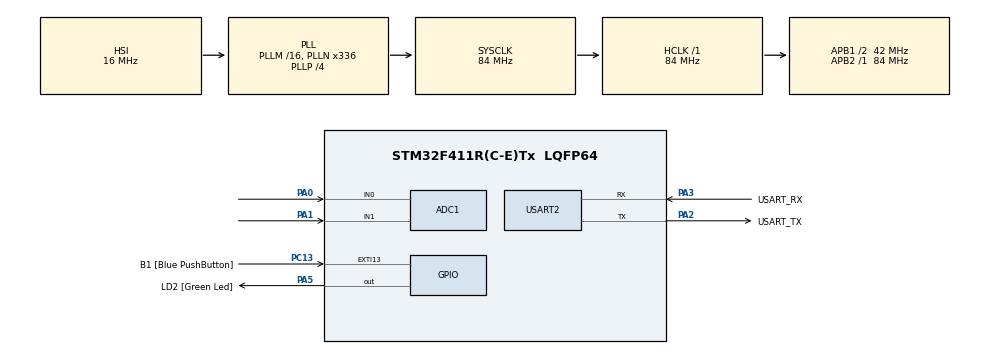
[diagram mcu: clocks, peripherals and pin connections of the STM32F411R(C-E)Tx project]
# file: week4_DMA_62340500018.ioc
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ADC1.Channel-0\#ChannelRegularConversion=ADC_CHANNEL_0
ADC1.Channel-1\#ChannelRegularConversion=ADC_CHANNEL_1
ADC1.Channel-2\#ChannelRegularConversion=ADC_CHANNEL_TEMPSENSOR
ADC1.Channel-3\#ChannelRegularConversion=ADC_CHANNEL_VREFINT
ADC1.ContinuousConvMode=ENABLE
ADC1.DMAContinuousRequests=ENABLE
ADC1.NbrOfConversion=4
ADC1.NbrOfConversionFlag=1
ADC1.Rank-0\#ChannelRegularConversion=1
ADC1.Rank-1\#ChannelRegularConversion=2
ADC1.Rank-2\#ChannelRegularConversion=3
ADC1.Rank-3\#ChannelRegularConversion=4
ADC1.SamplingTime-0\#ChannelRegularConversion=ADC_SAMPLETIME_84CYCLES
ADC1.SamplingTime-1\#ChannelRegularConversion=ADC_SAMPLETIME_84CYCLES
ADC1.SamplingTime-2\#ChannelRegularConversion=ADC_SAMPLETIME_84CYCLES
ADC1.SamplingTime-3\#ChannelRegularConversion=ADC_SAMPLETIME_84CYCLES
ADC1.ScanConvMode=ENABLE
ADC1.master=1
Dma.ADC1.0.Direction=DMA_PERIPH_TO_MEMORY
Dma.ADC1.0.FIFOMode=DMA_FIFOMODE_DISABLE
Dma.ADC1.0.Instance=DMA2_Stream0
Dma.ADC1.0.MemDataAlignment=DMA_MDATAALIGN_WORD
Dma.ADC1.0.MemInc=DMA_MINC_ENABLE
Dma.ADC1.0.Mode=DMA_CIRCULAR
Dma.ADC1.0.PeriphDataAlignment=DMA_PDATAALIGN_WORD
Dma.ADC1.0.PeriphInc=DMA_PINC_DISABLE
Dma.ADC1.0.Priority=DMA_PRIORITY_LOW
Dma.Request0=ADC1
Mcu.Family=STM32F4
Mcu.Name=STM32F411R(C-E)Tx
Mcu.Package=LQFP64
NVIC.DMA2_Stream0_IRQn=true\:0\:0\:false\:false\:true\:false\:true
NVIC.EXTI15_10_IRQn=true\:0\:0\:false\:false\:true\:true\:true
NVIC.PriorityGroup=NVIC_PRIORITYGROUP_0
PA0-WKUP.Signal=ADCx_IN0
PA1.Signal=ADCx_IN1
PA13.GPIO_Label=TMS
PA13.Mode=Serial_Wire
PA13.Signal=SYS_JTMS-SWDIO
PA14.GPIO_Label=TCK
PA14.Mode=Serial_Wire
PA14.Signal=SYS_JTCK-SWCLK
PA2.GPIO_Label=USART_TX
PA2.Mode=Asynchronous
PA2.Signal=USART2_TX
PA3.GPIO_Label=USART_RX
PA3.Mode=Asynchronous
PA3.Signal=USART2_RX
PA5.GPIO_Label=LD2 [Green Led]
PA5.Signal=GPIO_Output
PB3.GPIO_Label=SWO
PB3.Signal=SYS_JTDO-SWO
PC13-ANTI_TAMP.GPIO_Label=B1 [Blue PushButton]
PC13-ANTI_TAMP.GPIO_ModeDefaultEXTI=GPIO_MODE_IT_RISING_FALLING
PC13-ANTI_TAMP.GPIO_PuPd=GPIO_PULLUP
PC13-ANTI_TAMP.Signal=GPXTI13
PC14-OSC32_IN.Mode=LSE-External-Oscillator
PC14-OSC32_IN.Signal=RCC_OSC32_IN
PC15-OSC32_OUT.Mode=LSE-External-Oscillator
PC15-OSC32_OUT.Signal=RCC_OSC32_OUT
PH0\ -\ OSC_IN.Mode=HSE-External-Clock-Source
PH0\ -\ OSC_IN.Signal=RCC_OSC_IN
PH1\ -\ OSC_OUT.Mode=HSE-External-Clock-Source
PH1\ -\ OSC_OUT.Signal=RCC_OSC_OUT
ProjectManager.HeapSize=0x200
ProjectManager.StackSize=0x400
ProjectManager.TargetToolchain=STM32CubeIDE
RCC.48MHZClocksFreq_Value=84000000
RCC.AHBFreq_Value=84000000
RCC.APB1CLKDivider=RCC_HCLK_DIV2
RCC.APB1Freq_Value=42000000
RCC.APB1TimFreq_Value=84000000
RCC.APB2Freq_Value=84000000
RCC.APB2TimFreq_Value=84000000
RCC.CortexFreq_Value=84000000
RCC.FLatency-AdvancedSettings=FLASH_LATENCY_2
RCC.HCLKFreq_Value=84000000
RCC.HSE_VALUE=8000000
RCC.HSI_VALUE=16000000
RCC.PLLN=336
RCC.PLLP=RCC_PLLP_DIV4
RCC.SYSCLKFreq_VALUE=84000000
RCC.SYSCLKSource=RCC_SYSCLKSOURCE_PLLCLK
RCC.VCOOutputFreq_Value=336000000
SH.ADCx_IN0.0=ADC1_IN0,IN0
SH.ADCx_IN1.0=ADC1_IN1,IN1
USART2.VirtualMode=VM_ASYNC
VP_ADC1_TempSens_Input.Mode=IN-TempSens
VP_ADC1_Vref_Input.Mode=IN-Vrefint
board=NUCLEO-F411RE

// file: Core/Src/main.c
/* USER CODE BEGIN Header */
/**
 ******************************************************************************
 * @file           : main.c
 * @brief          : Main program body
 ******************************************************************************
 * @attention
 *
 * <h2><center>&copy; Copyright (c) 2021 STMicroelectronics.
 * All rights reserved.</center></h2>
 *
 * This software component is licensed by ST under BSD 3-Clause license,
 * the "License"; You may not use this file except in compliance with the
 * License. You may obtain a copy of the License at:
 *                        opensource.org/licenses/BSD-3-Clause
 *
 ******************************************************************************
 */
/* USER CODE END Header */
#include "main.h"

ADC_HandleTypeDef hadc1;
DMA_HandleTypeDef hdma_adc1;

UART_HandleTypeDef huart2;

/* USER CODE BEGIN PV */
uint32_t ADCData[4] = { 0 };
uint32_t ButtontimeStamp = 0;
uint32_t ResponTime = 0;
uint8_t ButtonState = 0;
uint8_t TestButton = 0;
uint32_t Random = 0;
/* USER CODE END PV */

void SystemClock_Config(void);
static void MX_GPIO_Init(void);
static void MX_DMA_Init(void);
static void MX_USART2_UART_Init(void);
static void MX_ADC1_Init(void);

int main(void) {

	/* MCU Configuration--------------------------------------------------------*/

	/* Reset of all peripherals, Initializes the Flash interface and the Systick. */
	HAL_Init();

	/* Configure the system clock */
	SystemClock_Config();

	/* Initialize all configured peripherals */
	MX_GPIO_Init();
	MX_DMA_Init();
	MX_USART2_UART_Init();
	MX_ADC1_Init();
	/* USER CODE BEGIN 2 */
	HAL_ADC_Start_DMA(&hadc1, ADCData, 4);	//ADCData = &ADCData[0]

	/* USER CODE END 2 */

	/* Infinite loop */
	/* USER CODE BEGIN WHILE */
	/*--------------------------------------------------------------------------------------------------------------*/
	while (1) {

		if (ButtonState == 0) {
			HAL_GPIO_WritePin(GPIOA, GPIO_PIN_5, GPIO_PIN_SET);

		} else if (ButtonState == 1) {
			if ((HAL_GetTick() - ButtontimeStamp) >= Random) {
				HAL_GPIO_WritePin(GPIOA, GPIO_PIN_5, GPIO_PIN_SET);
				ButtontimeStamp = HAL_GetTick();
			}
		} else {
			ButtonState = 0;
		}

		/* USER CODE END WHILE */

		/* USER CODE BEGIN 3 */

	}
	/*--------------------------------------------------------------------------------------------------------------*/
	/* USER CODE END 3 */
}

void SystemClock_Config(void) {
	RCC_OscInitTypeDef RCC_OscInitStruct = { 0 };
	RCC_ClkInitTypeDef RCC_ClkInitStruct = { 0 };

	/** Configure the main internal regulator output voltage
	 */
	__HAL_RCC_PWR_CLK_ENABLE();
	__HAL_PWR_VOLTAGESCALING_CONFIG(PWR_REGULATOR_VOLTAGE_SCALE1);
	/** Initializes the RCC Oscillators according to the specified parameters
	 * in the RCC_OscInitTypeDef structure.
	 */
	RCC_OscInitStruct.OscillatorType = RCC_OSCILLATORTYPE_HSI;
	RCC_OscInitStruct.HSIState = RCC_HSI_ON;
	RCC_OscInitStruct.HSICalibrationValue = RCC_HSICALIBRATION_DEFAULT;
	RCC_OscInitStruct.PLL.PLLState = RCC_PLL_ON;
	RCC_OscInitStruct.PLL.PLLSource = RCC_PLLSOURCE_HSI;
	RCC_OscInitStruct.PLL.PLLM = 16;
	RCC_OscInitStruct.PLL.PLLN = 336;
	RCC_OscInitStruct.PLL.PLLP = RCC_PLLP_DIV4;
	RCC_OscInitStruct.PLL.PLLQ = 4;
	if (HAL_RCC_OscConfig(&RCC_OscInitStruct) != HAL_OK) {
		Error_Handler();
	}
	/** Initializes the CPU, AHB and APB buses clocks
	 */
	RCC_ClkInitStruct.ClockType = RCC_CLOCKTYPE_HCLK | RCC_CLOCKTYPE_SYSCLK
			| RCC_CLOCKTYPE_PCLK1 | RCC_CLOCKTYPE_PCLK2;
	RCC_ClkInitStruct.SYSCLKSource = RCC_SYSCLKSOURCE_PLLCLK;
	RCC_ClkInitStruct.AHBCLKDivider = RCC_SYSCLK_DIV1;
	RCC_ClkInitStruct.APB1CLKDivider = RCC_HCLK_DIV2;
	RCC_ClkInitStruct.APB2CLKDivider = RCC_HCLK_DIV1;

	if (HAL_RCC_ClockConfig(&RCC_ClkInitStruct, FLASH_LATENCY_2) != HAL_OK) {
		Error_Handler();
	}
}

static void MX_ADC1_Init(void) {

	ADC_ChannelConfTypeDef sConfig = { 0 };

	/** Configure the global features of the ADC (Clock, Resolution, Data Alignment and number of conversion)
	 */
	hadc1.Instance = ADC1;
	hadc1.Init.ClockPrescaler = ADC_CLOCK_SYNC_PCLK_DIV4;
	hadc1.Init.Resolution = ADC_RESOLUTION_12B;
	hadc1.Init.ScanConvMode = ENABLE;
	hadc1.Init.ContinuousConvMode = ENABLE;
	hadc1.Init.DiscontinuousConvMode = DISABLE;
	hadc1.Init.ExternalTrigConvEdge = ADC_EXTERNALTRIGCONVEDGE_NONE;
	hadc1.Init.ExternalTrigConv = ADC_SOFTWARE_START;
	hadc1.Init.DataAlign = ADC_DATAALIGN_RIGHT;
	hadc1.Init.NbrOfConversion = 4;
	hadc1.Init.DMAContinuousRequests = ENABLE;
	hadc1.Init.EOCSelection = ADC_EOC_SINGLE_CONV;
	if (HAL_ADC_Init(&hadc1) != HAL_OK) {
		Error_Handler();
	}
	/** Configure for the selected ADC regular channel its corresponding rank in the sequencer and its sample time.
	 */
	sConfig.Channel = ADC_CHANNEL_0;
	sConfig.Rank = 1;
	sConfig.SamplingTime = ADC_SAMPLETIME_84CYCLES;
	if (HAL_ADC_ConfigChannel(&hadc1, &sConfig) != HAL_OK) {
		Error_Handler();
	}
	/** Configure for the selected ADC regular channel its corresponding rank in the sequencer and its sample time.
	 */
	sConfig.Channel = ADC_CHANNEL_1;
	sConfig.Rank = 2;
	if (HAL_ADC_ConfigChannel(&hadc1, &sConfig) != HAL_OK) {
		Error_Handler();
	}
	/** Configure for the selected ADC regular channel its corresponding rank in the sequencer and its sample time.
	 */
	sConfig.Channel = ADC_CHANNEL_TEMPSENSOR;
	sConfig.Rank = 3;
	if (HAL_ADC_ConfigChannel(&hadc1, &sConfig) != HAL_OK) {
		Error_Handler();
	}
	/** Configure for the selected ADC regular channel its corresponding rank in the sequencer and its sample time.
	 */
	sConfig.Channel = ADC_CHANNEL_VREFINT;
	sConfig.Rank = 4;
	if (HAL_ADC_ConfigChannel(&hadc1, &sConfig) != HAL_OK) {
		Error_Handler();
	}

}

static void MX_USART2_UART_Init(void) {

	huart2.Instance = USART2;
	huart2.Init.BaudRate = 115200;
	huart2.Init.WordLength = UART_WORDLENGTH_8B;
	huart2.Init.StopBits = UART_STOPBITS_1;
	huart2.Init.Parity = UART_PARITY_NONE;
	huart2.Init.Mode = UART_MODE_TX_RX;
	huart2.Init.HwFlowCtl = UART_HWCONTROL_NONE;
	huart2.Init.OverSampling = UART_OVERSAMPLING_16;
	if (HAL_UART_Init(&huart2) != HAL_OK) {
		Error_Handler();
	}

}

static void MX_DMA_Init(void) {

	/* DMA controller clock enable */
	__HAL_RCC_DMA2_CLK_ENABLE();

	/* DMA interrupt init */
	/* DMA2_Stream0_IRQn interrupt configuration */
	HAL_NVIC_SetPriority(DMA2_Stream0_IRQn, 0, 0);
	HAL_NVIC_EnableIRQ(DMA2_Stream0_IRQn);

}

static void MX_GPIO_Init(void) {
	GPIO_InitTypeDef GPIO_InitStruct = { 0 };

	/* GPIO Ports Clock Enable */
	__HAL_RCC_GPIOC_CLK_ENABLE();
	__HAL_RCC_GPIOH_CLK_ENABLE();
	__HAL_RCC_GPIOA_CLK_ENABLE();
	__HAL_RCC_GPIOB_CLK_ENABLE();

	/*Configure GPIO pin Output Level */
	HAL_GPIO_WritePin(LD2_GPIO_Port, LD2_Pin, GPIO_PIN_RESET);

	/*Configure GPIO pin : B1_Pin */
	GPIO_InitStruct.Pin = B1_Pin;
	GPIO_InitStruct.Mode = GPIO_MODE_IT_RISING_FALLING;
	GPIO_InitStruct.Pull = GPIO_PULLUP;
	HAL_GPIO_Init(B1_GPIO_Port, &GPIO_InitStruct);

	/*Configure GPIO pin : LD2_Pin */
	GPIO_InitStruct.Pin = LD2_Pin;
	GPIO_InitStruct.Mode = GPIO_MODE_OUTPUT_PP;
	GPIO_InitStruct.Pull = GPIO_NOPULL;
	GPIO_InitStruct.Speed = GPIO_SPEED_FREQ_LOW;
	HAL_GPIO_Init(LD2_GPIO_Port, &GPIO_InitStruct);

	/* EXTI interrupt init*/
	HAL_NVIC_SetPriority(EXTI15_10_IRQn, 0, 0);
	HAL_NVIC_EnableIRQ(EXTI15_10_IRQn);

}

/* USER CODE BEGIN 4 */
/*--------------------------------------------------------------------------------------------------------------*/
void HAL_GPIO_EXTI_Callback(uint16_t GPIO_Pin) {
	if (GPIO_Pin == GPIO_PIN_13) {
		if (ButtonState == 0) {
			ButtonState = 1;
			HAL_GPIO_WritePin(GPIOA, GPIO_PIN_5, GPIO_PIN_RESET);
			Random = 1000 + (((22695477 * ADCData[0]) + ADCData[1]) % 10000);
//			TestButton = 3;
			ButtontimeStamp = HAL_GetTick();
		}

	} else {
		ResponTime = HAL_GetTick() - ButtontimeStamp;
		ButtonState = 0;
	}
}

/*--------------------------------------------------------------------------------------------------------------*/
/* USER CODE END 4 */

void Error_Handler(void) {
	__disable_irq();
	while (1) {
	}
}

/************************ (C) COPYRIGHT STMicroelectronics *****END OF FILE****/
